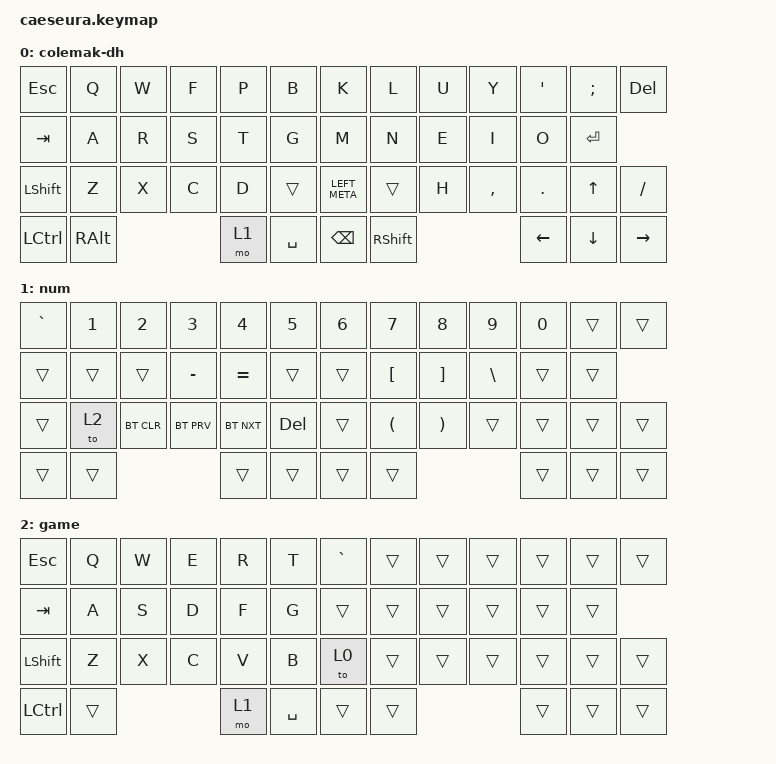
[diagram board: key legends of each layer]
#include <behaviors.dtsi>
#include <dt-bindings/zmk/bt.h>
#include <dt-bindings/zmk/keys.h>

/ {
    combos {
        compatible = "zmk,combos";

        v_combo {
            bindings = <&kp V>;
            key-positions = <29 28>;
            layers = <0>;
            timeout-ms = <65>;
        };

        j-combo {
            bindings = <&kp J>;
            key-positions = <4 3>;
            layers = <0>;
        };
    };

    keymap {
        compatible = "zmk,keymap";

        colemak-dh {
            bindings = <
&kp ESCAPE  &kp Q     &kp W  &kp F  &kp P  &kp B      &kp K          &kp L      &kp U  &kp Y      &kp SQT   &kp SEMI  &kp DEL
&kp TAB     &kp A     &kp R  &kp S  &kp T  &kp G      &kp M          &kp N      &kp E  &kp I      &kp O     &kp RET
&kp LSHFT   &kp Z     &kp X  &kp C  &kp D  &trans     &kp LEFT_META  &trans     &kp H  &kp COMMA  &kp DOT   &kp UP    &kp SLASH
&kp LCTRL   &kp RALT                &mo 1  &kp SPACE  &kp BSPC       &kp RSHFT                    &kp LEFT  &kp DOWN  &kp RIGHT
            >;

            label = "colemak-dh";
        };

        num {
            bindings = <
&kp GRAVE  &kp N1  &kp N2      &kp N3      &kp N4      &kp N5   &kp N6  &kp N7                &kp N8                 &kp N9    &kp N0  &trans  &trans
&trans     &trans  &trans      &kp MINUS   &kp EQUAL   &trans   &trans  &kp LBKT              &kp RBKT               &kp BSLH  &trans  &trans
&trans     &to 2   &bt BT_CLR  &bt BT_PRV  &bt BT_NXT  &kp DEL  &trans  &kp LEFT_PARENTHESIS  &kp RIGHT_PARENTHESIS  &trans    &trans  &trans  &trans
&trans     &trans                          &trans      &trans   &trans  &trans                                                 &trans  &trans  &trans
            >;
        };

        game {
            bindings = <
&kp ESC    &kp Q   &kp W  &kp E  &kp R  &kp T      &kp GRAVE  &trans  &trans  &trans  &trans  &trans  &trans
&kp TAB    &kp A   &kp S  &kp D  &kp F  &kp G      &trans     &trans  &trans  &trans  &trans  &trans
&kp LSHFT  &kp Z   &kp X  &kp C  &kp V  &kp B      &to 0      &trans  &trans  &trans  &trans  &trans  &trans
&kp LCTRL  &trans                &mo 1  &kp SPACE  &trans     &trans                  &trans  &trans  &trans
            >;

            label = "game";
        };
    };
};
